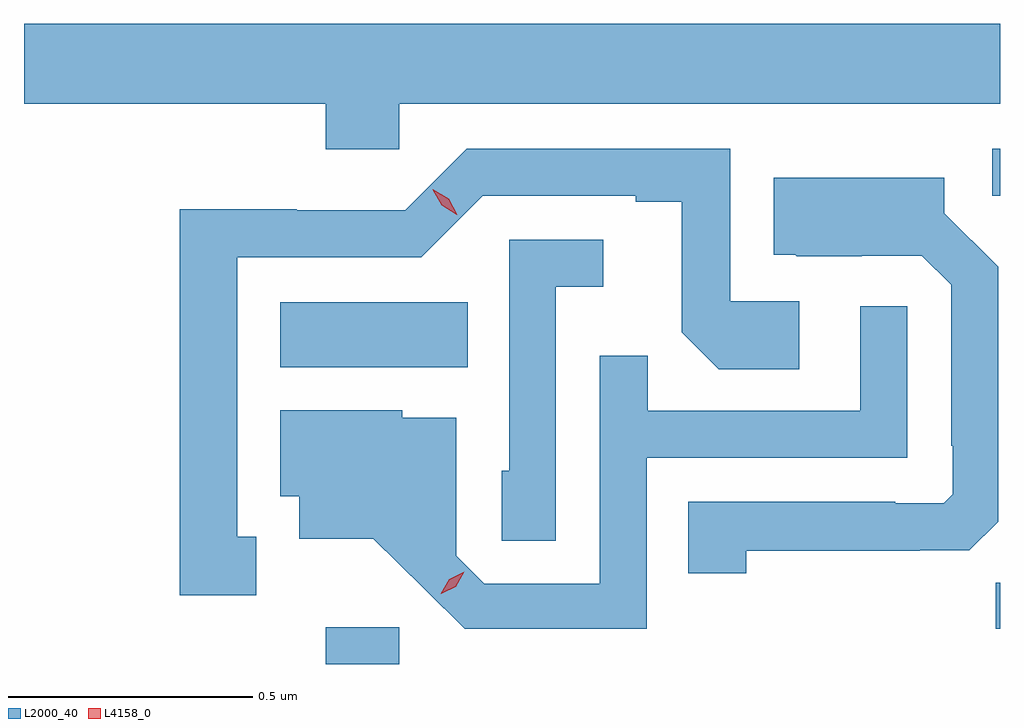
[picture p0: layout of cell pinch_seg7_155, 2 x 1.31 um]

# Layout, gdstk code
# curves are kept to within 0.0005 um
import gdstk
lib = gdstk.Library(unit=1e-6, precision=1e-09)
def R(c, l, rs):  # rectangles x0, y0, x1, y1
    for r in rs: c.add(gdstk.rectangle(r[:2], r[2:], *l))
def P(c, l, *ps):  # polygons
    for p in ps: c.add(gdstk.Polygon(p, *l))
L2000_40 = (2000, 40)
L4158_0 = (4158, 0)

pinch_seg7_155 = lib.new_cell('pinch_seg7_155')
R(pinch_seg7_155, L2000_40, [(1034.789,1015.452,1034.94,1015.528), (1036.162,1015.524,1036.171,1015.619), (1034.696,1016.06,1035.08,1016.194), (1036.155,1016.412,1036.171,1016.508)])
P(pinch_seg7_155, L2000_40, [(1034.94,1016.6),(1036.171,1016.6),(1036.171,1016.764),(1034.171,1016.764),(1034.171,1016.6),(1034.789,1016.6),(1034.789,1016.507),(1034.94,1016.507)],
  [(1034.647,1015.713),(1034.608,1015.713),(1034.608,1016.286),(1034.985,1016.286),(1035.111,1016.412),(1035.425,1016.412),(1035.425,1016.4),(1035.519,1016.4),(1035.519,1016.132),(1035.595,1016.056),(1035.76,1016.056),(1035.76,1016.196),(1035.618,1016.196),(1035.618,1016.508),(1035.078,1016.508),(1034.952,1016.382),(1034.73,1016.382),(1034.73,1016.384),(1034.49,1016.384),(1034.49,1015.593),(1034.647,1015.593)],
  [(1035.651,1015.684),(1036.007,1015.684),(1036.007,1015.685),(1036.108,1015.685),(1036.167,1015.744),(1036.167,1016.266),(1036.057,1016.376),(1036.057,1016.449),(1035.707,1016.449),(1035.707,1016.291),(1035.751,1016.291),(1035.754,1016.288),(1035.888,1016.288),(1035.888,1016.289),(1036.011,1016.289),(1036.071,1016.229),(1036.071,1015.9),(1036.074,1015.9),(1036.074,1015.8),(1036.056,1015.782),(1035.956,1015.782),(1035.956,1015.785),(1035.532,1015.785),(1035.532,1015.638),(1035.651,1015.638)],
  [(1035.261,1016.225),(1035.358,1016.225),(1035.358,1016.322),(1035.165,1016.322),(1035.165,1015.848),(1035.15,1015.848),(1035.15,1015.705),(1035.261,1015.705)],
  [(1035.447,1015.875),(1035.981,1015.875),(1035.981,1016.185),(1035.885,1016.185),(1035.885,1015.971),(1035.449,1015.971),(1035.449,1016.084),(1035.351,1016.084),(1035.351,1015.617),(1035.114,1015.617),(1035.057,1015.674),(1035.057,1015.957),(1034.946,1015.957),(1034.946,1015.972),(1034.696,1015.972),(1034.696,1015.796),(1034.735,1015.796),(1034.735,1015.709),(1034.887,1015.709),(1035.074,1015.524),(1035.447,1015.524)])
P(pinch_seg7_155, L4158_0, [(1035.025,1015.596),(1035.025,1015.596),(1035.042,1015.626),(1035.073,1015.641),(1035.073,1015.641),(1035.073,1015.641),(1035.056,1015.611),(1035.026,1015.596)],
  [(1035.058,1016.373),(1035.027,1016.392),(1035.009,1016.424),(1035.009,1016.425),(1035.009,1016.425),(1035.041,1016.406),(1035.059,1016.373),(1035.059,1016.373)])

lib.write_gds('pinch_seg7_155.gds')
